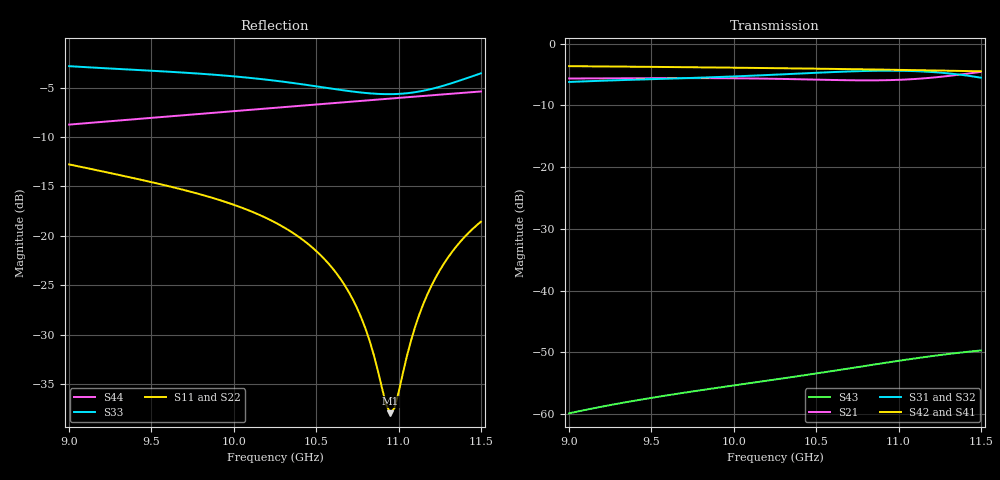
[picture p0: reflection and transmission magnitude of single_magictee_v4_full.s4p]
! Generated from PyAEDT SolutionData; AEDT ExportNetworkData workaround
# GHz S MA R 50
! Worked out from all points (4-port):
!   101 points, 9 GHz to 11.5 GHz, reference 50 ohm
!   strongest paths, dB at 9 GHz, 9.625 GHz, 10.25 GHz, 10.88 GHz, 11.5 GHz:
!     S42: -3.6, -3.8, -4.0, -4.2, -4.5
!     S41: -3.6, -3.8, -4.0, -4.2, -4.5
!     S31: -6.2, -5.6, -5.0, -4.4, -5.5
!     S32: -6.2, -5.7, -5.0, -4.4, -5.6
!     S21: -5.6, -5.6, -5.7, -5.9, -4.6
!     S43: -59.9, -56.9, -54.4, -51.9, -49.7
!   lowest |S11| = -37.9 dB at 10.95 GHz (marker M1), VSWR 1.03, Z = 51.3 - j0.147 ohm
!   |S11| at or under -10 dB: start of sweep to end of sweep
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9  0.2298 147.7  0.5231 -175.5  0.4901 -83.6  0.6582 45.9
   0.5231 -175.5  0.231 147.9  0.4896 -83.6  0.6582 -134.1
   0.4901 -83.6  0.4896 -83.6  0.7211 -160.6  0.001011 133.4
   0.6582 45.9  0.6582 -134.1  0.001011 133.4  0.3653 -114.8
9.475  0.189 94.4  0.5259 132.4  0.5151 -165.2  0.6499 -8.1
       0.5259 132.4  0.19 94.8  0.5145 -165.2  0.6502 171.9
       0.5151 -165.2  0.5145 -165.2  0.6855 87.0  0.001332 40.8
       0.6499 -8.1  0.6502 171.9  0.001332 40.8  0.3936 -165.7
10.125  0.131 21.2  0.5229 64.1  0.5521 85.8  0.636 -78.8
        0.5229 64.1  0.1311 22.0  0.551 85.7  0.637 101.3
        0.5521 85.8  0.551 85.7  0.6258 -64.5  0.001798 -79.3
        0.636 -78.8  0.637 101.3  0.001798 -79.3  0.4355 126.7
10.55  0.07637 -28.1  0.5104 22.6  0.5856 13.3  0.6251 -123.5
       0.5104 22.6  0.07581 -26.7  0.5838 13.2  0.6268 56.5
       0.5856 13.3  0.5838 13.2  0.5623 -170.1  0.002178 -154.8
       0.6251 -123.5  0.6268 56.5  0.002178 -154.8  0.4651 83.2
10.95  0.01268 -6.5  0.5076 -12.3  0.6049 -58.5  0.6133 -165.0
       0.5076 -12.3  0.01379 -1.4  0.6024 -58.6  0.6158 15.0
       0.6049 -58.5  0.6024 -58.6  0.5207 75.0  0.002631 134.0
       0.6133 -165.0  0.6158 15.0  0.002631 134.0  0.4946 42.7
11.225  0.06144 34.3  0.5347 -34.8  0.5873 -110.3  0.6044 166.9
        0.5347 -34.8  0.06236 33.8  0.5843 -110.5  0.6073 -13.2
        0.5873 -110.3  0.5843 -110.5  0.5601 -11.9  0.002969 84.1
        0.6044 166.9  0.6073 -13.2  0.002969 84.1  0.5156 14.9
11.5  0.1179 -1.7  0.592 -58.9  0.5308 -162.9  0.5949 138.8
      0.592 -58.9  0.118 -1.8  0.5274 -163.0  0.5979 -41.3
      0.5308 -162.9  0.5274 -163.0  0.6634 -95.5  0.003267 33.6
      0.5949 138.8  0.5979 -41.3  0.003267 33.6  0.5372 -12.9
